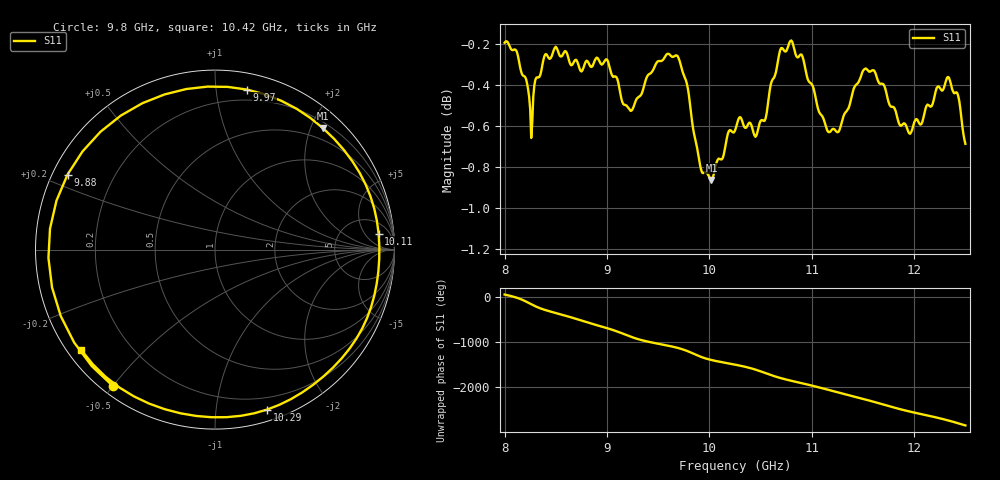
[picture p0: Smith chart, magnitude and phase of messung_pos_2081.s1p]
#  HZ  S  RI  R  50.00
! Rohde & Schwarz Vector Network Analyzer
! Rohde-Schwarz,ZNA43-4Port,1332450044101932,2.92
! Created: UTC 6/1/2026, 11:34:33 AM
! freq[Hz]  re:S11  im:S11
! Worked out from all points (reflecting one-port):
!   451 points, 8 GHz to 12.5 GHz, reference 50 ohm
!   lowest |S11| = -0.9 dB at 10.02 GHz (marker M1), VSWR 20.14, Z = 14.6 + j110 ohm
!   phase of S11 starts at 60 deg and turns -2902 deg over the sweep
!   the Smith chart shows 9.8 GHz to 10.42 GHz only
!   S11 on the Smith chart (normalised r, x): 9.8 GHz: 0.03, -0.50; 9.88 GHz: 0.04, +0.24; 9.97 GHz: 0.12, +1.21; 10.11 GHz: 10, +11; 10.29 GHz: 0.09, -1.37; 10.42 GHz: 0.04, -0.33
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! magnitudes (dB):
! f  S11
! 8 GHz  -0.2
! 8.12 GHz  -0.2
! 8.26 GHz  -0.7
! 8.39 GHz  -0.3
! 8.57 GHz  -0.3
! 9 GHz  -0.3
! 9.13 GHz  -0.4
! 9.24 GHz  -0.5
! 9.49 GHz  -0.3
! 9.69 GHz  -0.3
! 9.8 GHz  -0.5
! 9.88 GHz  -0.7
! 9.97 GHz  -0.8
! 10.02 GHz  -0.9
! 10.11 GHz  -0.8
! 10.25 GHz  -0.6
! 10.29 GHz  -0.6
! 10.42 GHz  -0.6
! 10.54 GHz  -0.6
! 10.7 GHz  -0.2
! 10.82 GHz  -0.2
! 11.16 GHz  -0.6
! 11.38 GHz  -0.5
! 11.6 GHz  -0.3
! 11.94 GHz  -0.6
! 12.33 GHz  -0.4
! 12.43 GHz  -0.5
! 12.5 GHz  -0.7
